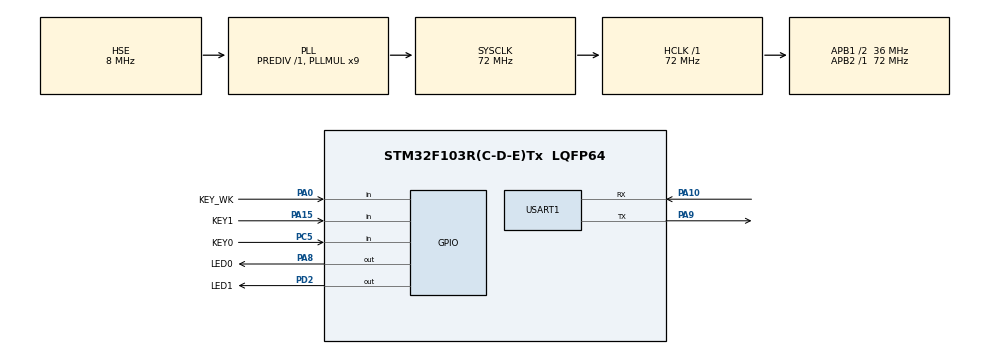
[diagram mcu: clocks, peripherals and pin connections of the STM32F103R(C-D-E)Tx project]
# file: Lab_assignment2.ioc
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Mcu.Family=STM32F1
Mcu.Name=STM32F103R(C-D-E)Tx
Mcu.Package=LQFP64
NVIC.PriorityGroup=NVIC_PRIORITYGROUP_2
NVIC.TIM2_IRQn=true\:1\:1\:true\:false\:true\:true\:true\:true
PA0-WKUP.GPIO_Label=KEY_WK
PA0-WKUP.GPIO_PuPd=GPIO_PULLDOWN
PA0-WKUP.Signal=GPIO_Input
PA10.Mode=Asynchronous
PA10.Signal=USART1_RX
PA13.Mode=Serial_Wire
PA13.Signal=SYS_JTMS-SWDIO
PA14.Mode=Serial_Wire
PA14.Signal=SYS_JTCK-SWCLK
PA15.GPIO_Label=KEY1
PA15.GPIO_PuPd=GPIO_PULLUP
PA15.Signal=GPIO_Input
PA8.GPIO_Label=LED0
PA8.PinState=GPIO_PIN_SET
PA8.Signal=GPIO_Output
PA9.Mode=Asynchronous
PA9.Signal=USART1_TX
PC5.GPIO_Label=KEY0
PC5.GPIO_PuPd=GPIO_PULLUP
PC5.Signal=GPIO_Input
PD0-OSC_IN.Mode=HSE-External-Oscillator
PD0-OSC_IN.Signal=RCC_OSC_IN
PD1-OSC_OUT.Mode=HSE-External-Oscillator
PD1-OSC_OUT.Signal=RCC_OSC_OUT
PD2.GPIO_Label=LED1
PD2.PinState=GPIO_PIN_SET
PD2.Signal=GPIO_Output
ProjectManager.HeapSize=0x200
ProjectManager.StackSize=0x400
ProjectManager.TargetToolchain=STM32CubeIDE
RCC.AHBFreq_Value=72000000
RCC.APB1CLKDivider=RCC_HCLK_DIV2
RCC.APB1Freq_Value=36000000
RCC.APB1TimFreq_Value=72000000
RCC.APB2Freq_Value=72000000
RCC.APB2TimFreq_Value=72000000
RCC.HCLKFreq_Value=72000000
RCC.PLLMUL=RCC_PLL_MUL9
RCC.PLLSourceVirtual=RCC_PLLSOURCE_HSE
RCC.SYSCLKFreq_VALUE=72000000
RCC.SYSCLKSource=RCC_SYSCLKSOURCE_PLLCLK
RCC.USBFreq_Value=72000000
TIM2.Period=10000-1
TIM2.Prescaler=72-1
USART1.VirtualMode=VM_ASYNC
VP_TIM2_VS_ClockSourceINT.Mode=Internal
board=custom

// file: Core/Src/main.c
/* USER CODE BEGIN Header */
/**
  ******************************************************************************
  * @file           : main.c
  * @brief          : Main program body
  ******************************************************************************
  * @attention
  *
  * Copyright (c) 2024 STMicroelectronics.
  * All rights reserved.
  *
  * This software is licensed under terms that can be found in the LICENSE file
  * in the root directory of this software component.
  * If no LICENSE file comes with this software, it is provided AS-IS.
  *
  ******************************************************************************
  */
/* USER CODE END Header */
#include "main.h"
#include "tim.h"
#include "usart.h"
#include "gpio.h"

/* USER CODE BEGIN Includes */
#include "LCD.h"
#include "lcd_v4.h"
#include "KEY.h"
#include <stdio.h>
#include <stdint.h>
#include <math.h>
#include <stdlib.h>
#include <string.h>
#define MAX_LENGTH 10
#define HAMMING_MIN_LENGTH 3
#define HAMMING_MAX_LENGTH 14

/* USER CODE END Includes */

/* USER CODE BEGIN PTD */
char* HAMMING_ENCODE(char* input);
char* HAMMING_DECODE(char* hamming_input);
uint8_t char_to_bit(char c);
char bit_to_char(uint8_t bit);
uint8_t calculate_redundant_bits(uint8_t input_len, uint8_t mode);

/* USER CODE END PTD */

/* USER CODE BEGIN PV */
static char wr_data[11]; //纠错前的数据
static char parity_val[4]; //记录校验位的计算结果
static uint8_t error_position = 0; //Decode模式下错误的位置，默认为0

/* USER CODE END PV */

void SystemClock_Config(void);

int main(void)
{

  /* MCU Configuration--------------------------------------------------------*/

  /* Reset of all peripherals, Initializes the Flash interface and the Systick. */
  HAL_Init();

  /* USER CODE BEGIN Init */
  lcd_init();

  /* USER CODE END Init */

  /* Configure the system clock */
  SystemClock_Config();

  /* Initialize all configured peripherals */
  MX_GPIO_Init();
  MX_TIM2_Init();
  MX_USART1_UART_Init();
  /* USER CODE BEGIN 2 */
  Key_Config();
  HAL_TIM_Base_Start_IT(&htim2);//开定时器
  static uint8_t bit_len = 4; //默认original数据长度是4位
  static uint8_t hamming_len = 7;//默认hamming码长度是7
  static uint8_t mode = 1;
  static char or_data[11];
  static char or_hamming[15];
  char* encoded_data;
  /* USER CODE END 2 */

  /* Infinite loop */
  while (1)
  {

    /* USER CODE BEGIN 3 */
	  if(button[2].buttonAction == BUTTON_LONG_PRESS){//长按KEY_WK_UP设置original数据长度
		  lcd_clear(WHITE);g_back_color = WHITE;
		  button[2].buttonAction = BUTTON_NULL;
		  char len_str[4];
		  sprintf(len_str,"%d",bit_len);
		  lcd_show_string(10,lcddev.height/10,200,24,24,"Input Length: ",BLACK);
		  lcd_show_string(5 * lcddev.width/ 6, lcddev.height/10,200,24,24,len_str,BLACK);
		  lcd_show_string(10,lcddev.height/10 + 50,200,16,16,"Maximum Length is 10", BLACK);
		  while(button[2].buttonAction != BUTTON_LONG_PRESS){
			  //按KEY1减1，按KEY0加1
			  if(button[1].buttonAction == BUTTON_SINGLE){
				  button[1].buttonAction = BUTTON_NULL;
				  if(bit_len - 1 >= 1){
					  bit_len -= 1;
					  lcd_clear_area(WHITE,5*lcddev.width/6,lcddev.height/10,200,24);
					  sprintf(len_str,"%d",bit_len);
					  lcd_show_string(5 * lcddev.width/ 6, lcddev.height/10,200,24,24,len_str,BLACK);
				  }
			  }
			  else if(button[0].buttonAction == BUTTON_SINGLE){
				  button[0].buttonAction = BUTTON_NULL;
				  if(bit_len + 1 <= MAX_LENGTH){
					  bit_len += 1;
					  lcd_clear_area(WHITE,5*lcddev.width/6,lcddev.height/10,200,24);
					  sprintf(len_str,"%d",bit_len);
					  lcd_show_string(5 * lcddev.width/ 6, lcddev.height/10,200,24,24,len_str,BLACK);
				  }
				  else {
					  lcd_show_string(10, lcddev.height/10 + 100, 200, 24, 24, "Exceeding Maximum Length!", RED);
					  HAL_Delay(2000);
					  lcd_clear_area(WHITE,10,lcddev.height/10 + 100, 200,40);
				  }
			  }
		  }//再次长按KEY_WK_UP退出设置模式
		  button[2].buttonAction = BUTTON_NULL;
		  lcd_clear(WHITE);g_back_color = WHITE;
	  }
	  else if(button[2].buttonAction == BUTTON_DOUBLE){
		  lcd_clear(WHITE);g_back_color = WHITE;
		  button[2].buttonAction = BUTTON_NULL;
		  char len_str[4];
		  sprintf(len_str,"%d",hamming_len);
		  lcd_show_string(10,lcddev.height/10,200,24,24,"Hamming Length: ",BLACK);
		  lcd_show_string(5 * lcddev.width/ 6, lcddev.height/10,200,24,24,len_str,BLACK);
		  lcd_show_string(10,lcddev.height/10 + 50,200,16,16,"Maximum Length is 14", BLACK);
		  while(button[2].buttonAction != BUTTON_DOUBLE){
			  //按KEY1减1，按KEY0加1
			  if(button[1].buttonAction == BUTTON_SINGLE){
				  button[1].buttonAction = BUTTON_NULL;
				  if(hamming_len - 1 >= HAMMING_MIN_LENGTH){
					  hamming_len -= 1;
					  lcd_clear_area(WHITE,5*lcddev.width/6,lcddev.height/10,200,24);
					  sprintf(len_str,"%d",hamming_len);
					  lcd_show_string(5 * lcddev.width/ 6, lcddev.height/10,200,24,24,len_str,BLACK);
				  }
			  }
			  else if(button[0].buttonAction == BUTTON_SINGLE){
				  button[0].buttonAction = BUTTON_NULL;
					  if(hamming_len + 1 <= HAMMING_MAX_LENGTH){
						  hamming_len += 1;
						  lcd_clear_area(WHITE,5*lcddev.width/6,lcddev.height/10,200,24);
						  sprintf(len_str,"%d",hamming_len);
						  lcd_show_string(5 * lcddev.width/ 6, lcddev.height/10,200,24,24,len_str,BLACK);
					  }
					  else{
						  lcd_show_string(10, lcddev.height/10 + 100, 200, 24, 24, "Exceeding Maximum Length!", RED);
						  HAL_Delay(2000);
						  lcd_clear_area(WHITE,10,lcddev.height/10 + 100, 200,40);
					  }
				  }
			  }
		  button[2].buttonAction = BUTTON_NULL;
		  lcd_clear(WHITE);g_back_color = WHITE;
	  }//双击KEY_WK_UP设置HAMMING码长度
	  else{
		  //切换Encoding和Decoding模
		  if(button[2].buttonAction == BUTTON_SINGLE){
			  button[2].buttonAction = BUTTON_NULL;
			  if(mode == ENCODING){
				  HAL_GPIO_TogglePin(LED0_GPIO_Port,LED0_Pin);
				  HAL_GPIO_TogglePin(LED1_GPIO_Port,LED1_Pin);
				  HAL_Delay(500);
				  HAL_GPIO_TogglePin(LED0_GPIO_Port,LED0_Pin);
				  HAL_GPIO_TogglePin(LED1_GPIO_Port,LED1_Pin);
				  mode = DECODING;
			  }
			  else{
				  for(uint8_t i = 0; i < 3; i ++){
					  HAL_GPIO_TogglePin(LED0_GPIO_Port,LED0_Pin);
					  HAL_GPIO_TogglePin(LED1_GPIO_Port,LED1_Pin);
					  HAL_Delay(500);
				  }
				  HAL_GPIO_TogglePin(LED0_GPIO_Port,LED0_Pin);
				  HAL_GPIO_TogglePin(LED1_GPIO_Port,LED1_Pin);
				  mode = ENCODING;
			  }
		  }
		  if(mode == ENCODING){
			  lcd_clear(WHITE);g_back_color = WHITE;
			  lcd_divide();
			  lcd_picture_mode(ENCODING);
			  uint8_t flag = 0; //flag检查是否已经输入完成
			  while(button[2].buttonAction != BUTTON_SINGLE && button[2].buttonAction != BUTTON_LONG_PRESS && button[2].buttonAction != BUTTON_DOUBLE){
				  uint8_t input_size = 0;
				  while(input_size < bit_len && flag == 0 && button[2].buttonAction != BUTTON_SINGLE && button[2].buttonAction != BUTTON_LONG_PRESS && button[2].buttonAction != BUTTON_DOUBLE){
					  if(button[0].buttonAction == BUTTON_SINGLE){//KEY0输入0，KEY1输入1
						  button[0].buttonAction = BUTTON_NULL;
						  HAL_GPIO_TogglePin(LED0_GPIO_Port,LED0_Pin);
						  HAL_Delay(500);
						  HAL_GPIO_TogglePin(LED0_GPIO_Port,LED0_Pin);
						  or_data[input_size] = '0';
						  input_size++;
					  }
					  else if(button[1].buttonAction == BUTTON_SINGLE){
						  button[1].buttonAction = BUTTON_NULL;
						  HAL_GPIO_TogglePin(LED1_GPIO_Port,LED1_Pin);
						  HAL_Delay(500);
						  HAL_GPIO_TogglePin(LED1_GPIO_Port,LED1_Pin);
						  or_data[input_size] = '1';
						  input_size++;
					  }
					  or_data[input_size] = '\0';
				  }
				  flag = 1;
				  lcd_show_string(10,lcddev.height/10 + 60, 200, 24,24,or_data,BLACK);
				  //Hamming Code编码
				  encoded_data = HAMMING_ENCODE(or_data);
				  lcd_show_string(10,2*lcddev.height/5 + 30, 200, 24,24,encoded_data,BLACK);
			  }

		  }
		  else {
			  lcd_clear(WHITE);g_back_color = WHITE;
			  lcd_divide();
			  lcd_picture_mode(DECODING);
			  uint8_t flag = 0;
			  //显示冗余位数量
			  char parity_bit[2];
			  parity_bit[0] = calculate_redundant_bits(hamming_len,DECODING) + '0';
			  parity_bit[1] = '\0';
			  char result[strlen("with ") + strlen(parity_bit) + strlen(" bits") + 1];  // 动态调整 result 大小
			  strcpy(result, "with ");
			  strcat(result, parity_bit);
			  strcat(result, " bits");
			  lcd_show_string(lcddev.width/2,2*lcddev.height/5+10,100,16,16,result,BLACK);
//			  lcd_show_string(10,lcddev.height/10 + 60, 200, 24,24,or_data,BLACK);
//			  if(encoded_data != NULL){lcd_show_string(10,2*lcddev.height/5 + 30, 200, 24,24,encoded_data,BLACK);}
			  while(button[2].buttonAction != BUTTON_SINGLE && button[2].buttonAction != BUTTON_LONG_PRESS && button[2].buttonAction != BUTTON_DOUBLE){
				  uint8_t input_size = 0;
				  while(input_size < hamming_len && flag == 0 && button[2].buttonAction != BUTTON_SINGLE && button[2].buttonAction != BUTTON_LONG_PRESS && button[2].buttonAction != BUTTON_DOUBLE ){
					  if(button[0].buttonAction == BUTTON_SINGLE){
						  button[0].buttonAction = BUTTON_NULL;
						  HAL_GPIO_TogglePin(LED0_GPIO_Port,LED0_Pin);
						  HAL_Delay(500);
						  HAL_GPIO_TogglePin(LED0_GPIO_Port,LED0_Pin);
						  or_hamming[input_size] = '0';
						  input_size++;
					  }
					  else if(button[1].buttonAction == BUTTON_SINGLE){
						  button[1].buttonAction = BUTTON_NULL;
						  HAL_GPIO_TogglePin(LED1_GPIO_Port,LED1_Pin);
						  HAL_Delay(500);
						  HAL_GPIO_TogglePin(LED1_GPIO_Port,LED1_Pin);
						  or_hamming[input_size] = '1';
						  input_size++;
					  }
					  or_hamming[input_size] = '\0';
				  }
				  if(flag == 0){//只用显示一次
					  lcd_show_string(10,2*lcddev.height/5 + 30, 200, 24,24,or_hamming,BLACK);
					  char *decode = HAMMING_DECODE(or_hamming);
					  lcd_show_string(10,lcddev.height/10 + 60, 200, 24,24,decode,BLACK);
					  lcd_show_string(10,3*lcddev.height/5 + 10,100,16,16,"Parity Bits:",BLACK);
					  lcd_show_string(lcddev.width/2,3*lcddev.height/5+10,100,16,16,parity_val,BLACK);
					  if(error_position != 0){
						  lcd_show_string(10,3*lcddev.height/5+30,200,16,16,"1 error occurs in bit",BLACK);
						  char temp = error_position + '0';
						  char ep[2] = {temp,'\0'};
						  lcd_show_string(6*lcddev.width/7,3*lcddev.height/5+26,100,24,24,ep,BLACK);
						  char result[strlen("The error data is ")+strlen(wr_data)];
						  strcpy(result,"The error data is ");strcat(result,wr_data);
						  lcd_show_string(10,3*lcddev.height/5+50,200,16,16,result,BLACK);
					  }
					  else{
						  lcd_show_string(10,3*lcddev.height/5+30,200,16,16,"No errors",BLACK);
					  }
				  }
				  flag = 1;
			  }
		  }
	  }

  }
  /* USER CODE END 3 */
}

void SystemClock_Config(void)
{
  RCC_OscInitTypeDef RCC_OscInitStruct = {0};
  RCC_ClkInitTypeDef RCC_ClkInitStruct = {0};

  /** Initializes the RCC Oscillators according to the specified parameters
  * in the RCC_OscInitTypeDef structure.
  */
  RCC_OscInitStruct.OscillatorType = RCC_OSCILLATORTYPE_HSE;
  RCC_OscInitStruct.HSEState = RCC_HSE_ON;
  RCC_OscInitStruct.HSEPredivValue = RCC_HSE_PREDIV_DIV1;
  RCC_OscInitStruct.HSIState = RCC_HSI_ON;
  RCC_OscInitStruct.PLL.PLLState = RCC_PLL_ON;
  RCC_OscInitStruct.PLL.PLLSource = RCC_PLLSOURCE_HSE;
  RCC_OscInitStruct.PLL.PLLMUL = RCC_PLL_MUL9;
  if (HAL_RCC_OscConfig(&RCC_OscInitStruct) != HAL_OK)
  {
    Error_Handler();
  }

  /** Initializes the CPU, AHB and APB buses clocks
  */
  RCC_ClkInitStruct.ClockType = RCC_CLOCKTYPE_HCLK|RCC_CLOCKTYPE_SYSCLK
                              |RCC_CLOCKTYPE_PCLK1|RCC_CLOCKTYPE_PCLK2;
  RCC_ClkInitStruct.SYSCLKSource = RCC_SYSCLKSOURCE_PLLCLK;
  RCC_ClkInitStruct.AHBCLKDivider = RCC_SYSCLK_DIV1;
  RCC_ClkInitStruct.APB1CLKDivider = RCC_HCLK_DIV2;
  RCC_ClkInitStruct.APB2CLKDivider = RCC_HCLK_DIV1;

  if (HAL_RCC_ClockConfig(&RCC_ClkInitStruct, FLASH_LATENCY_2) != HAL_OK)
  {
    Error_Handler();
  }
}

/* USER CODE BEGIN 4 */
void HAL_TIM_PeriodElapsedCallback(TIM_HandleTypeDef *htim) //按键扫描
{
	if(htim == &htim2)
	{
		Key_Scan(button);
		Key_Scan(button+1);
		Key_Scan(button+2);
	}
}

// 计算冗余位的数量
uint8_t calculate_redundant_bits(uint8_t input_len, uint8_t mode) {
    uint8_t r = 0;
    if(mode == ENCODING){
    	while ((1 << r) < (input_len + r + 1)) {
    		r++;
    	}
    }
    else{
    	while ((1 << r) < input_len) {
    	        r++;
    	    }
    }
    return r;
}

uint8_t char_to_bit(char c) {
    return c == '1' ? 1 : 0;
}

char bit_to_char(uint8_t bit) {
    return bit ? '1' : '0';
}

// Hamming编码函数，输入为字符串
char* HAMMING_ENCODE(char* input) {
    uint8_t input_len = strlen(input);

    uint8_t r = calculate_redundant_bits(input_len,ENCODING);
    uint8_t total_len = input_len + r;

    // 分配空间存储编码后的数据
    char* encoded = (char*)malloc((total_len + 1) * sizeof(char));
    encoded[total_len] = '\0';

    // 初始化编码数组
    for (uint8_t i = 0; i < total_len; i++) {
        encoded[i] = '0';
    }

    uint8_t data_index = 0;
    for (uint8_t i = 1; i <= total_len; i++) {
        if ((i & (i - 1)) != 0) {
            encoded[i - 1] = input[data_index];
            data_index++;
        }
    }

    for (uint8_t i = 0; i < r; i++) {
        uint8_t pos = (1 << i);
        uint8_t parity = 0;

        for (uint8_t j = 1; j <= total_len; j++) {
            if (j & pos) {
                parity ^= char_to_bit(encoded[j - 1]);
            }
        }
        encoded[pos - 1] = bit_to_char(parity);
    }

    return encoded;
}

char* HAMMING_DECODE(char* hamming_input) {
    uint8_t input_len = strlen(hamming_input);

    uint8_t r = calculate_redundant_bits(input_len,DECODING);
    uint8_t error_pos = 0;
    for (uint8_t i = 0; i < r; i++) {
            uint8_t pos = (1 << i);
            uint8_t parity = 0;

            for (uint8_t j = 1; j <= input_len; j++) {
                if (j & pos) {
                    parity ^= char_to_bit(hamming_input[j - 1]);
                }
            }
            parity_val[r-i-1] = bit_to_char(parity);

            if (parity != 0) {
                error_pos += pos;
            }
        }
        parity_val[r] = '\0';

        if (error_pos > 0 && error_pos <= input_len) {
        	error_position = error_pos;
            hamming_input[error_pos - 1] = bit_to_char(!char_to_bit(hamming_input[error_pos - 1]));
        }

        uint8_t data_len = input_len - r;
        char* decoded = (char*)malloc((data_len + 1) * sizeof(char));

        decoded[data_len] = '\0';
        wr_data[data_len] = '\0';

        uint8_t data_index = 0;
        uint8_t di = 0;
        for (uint8_t i = 1; i <= input_len; i++) {
            if ((i & (i - 1)) != 0) {
                decoded[data_index++] = hamming_input[i - 1];
                if(i==error_pos){wr_data[di++]=bit_to_char(!char_to_bit(hamming_input[i-1]));}
                else{
                wr_data[di++] = hamming_input[i-1];
                }
            }
        }

        return decoded;
    }

/* USER CODE END 4 */

void Error_Handler(void)
{
  __disable_irq();
  while (1)
  {
  }
}
